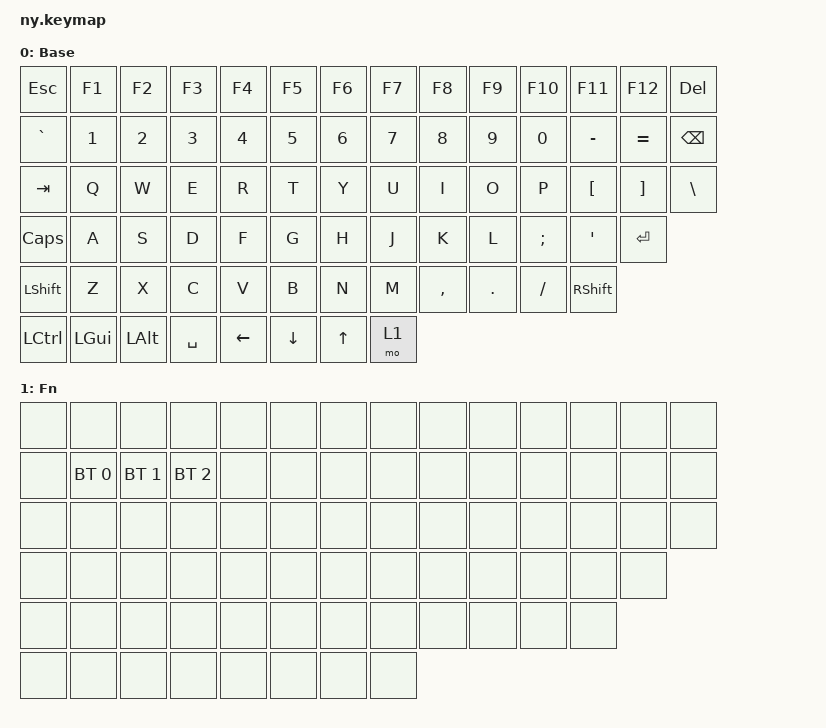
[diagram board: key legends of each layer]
#include <behaviors.dtsi>
#include <dt-bindings/zmk/keys.h>

/ {
    keymap {
        compatible = "zmk,keymap";

        /* ============== BASE LAYER ============== */
        default_layer {
            display-name = "Base";
            bindings = <
                &kp ESC &kp F1 &kp F2 &kp F3 &kp F4 &kp F5 &kp F6 &kp F7 &kp F8 &kp F9 &kp F10 &kp F11 &kp F12 &kp DEL
                &kp GRAVE &kp N1 &kp N2 &kp N3 &kp N4 &kp N5 &kp N6 &kp N7 &kp N8 &kp N9 &kp N0 &kp MINUS &kp EQUAL &kp BSPC
                &kp TAB &kp Q &kp W &kp E &kp R &kp T &kp Y &kp U &kp I &kp O &kp P &kp LBKT &kp RBKT &kp BSLH
                &kp CAPS &kp A &kp S &kp D &kp F &kp G &kp H &kp J &kp K &kp L &kp SEMI &kp SQT &kp ENTER
                &kp LSHIFT &kp Z &kp X &kp C &kp V &kp B &kp N &kp M &kp COMMA &kp DOT &kp SLASH &kp RSHIFT
                &kp LCTRL &kp LGUI &kp LALT &kp SPACE &kp LEFT &kp DOWN &kp UP &mo 1
            >;
        };

        /* ============== FN / BLE LAYER ============== */
        fn_layer {
            display-name = "Fn";
            bindings = <
                &none &none &none &none &none &none &none &none &none &none &none &none &none &none
                &none &bt BT_SEL 0 &bt BT_SEL 1 &bt BT_SEL 2 &none &none &none &none &none &none &none &none &none &none
                &none &none &none &none &none &none &none &none &none &none &none &none &none &none
                &none &none &none &none &none &none &none &none &none &none &none &none &none
                &none &none &none &none &none &none &none &none &none &none &none &none
                &none &none &none &none &none &none &none &none
            >;
        };
    };
};
